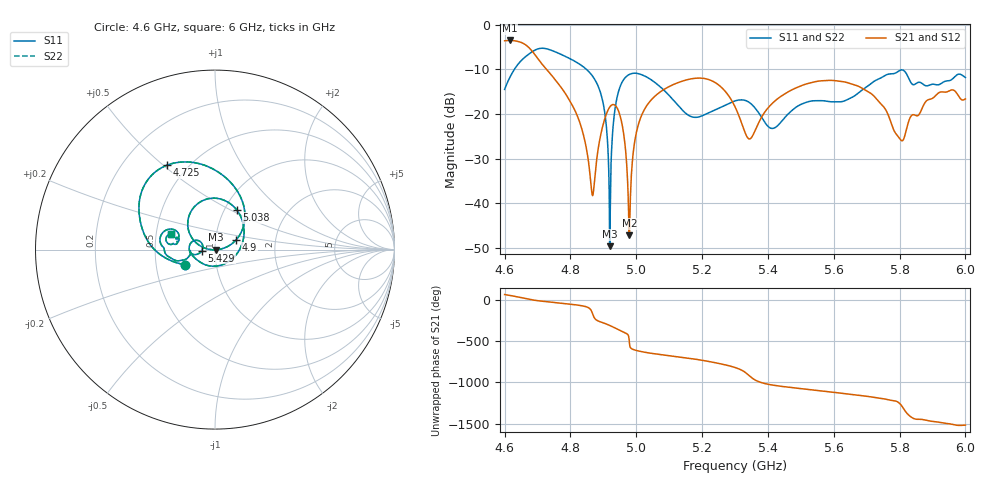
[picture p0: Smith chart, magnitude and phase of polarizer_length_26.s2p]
! TOUCHSTONE file generated by CST MICROWAVE STUDIO
! Date and time: Sun Dec  1 17:17:05 2024
! Project name: test_tuning.cst
! Parameters = {airCoaxOuterDiameter=3; chamferAngle=45; chamferWidth=24; connectorLength=10; drillingHoleDiameter=4.1; feedLength=60; flareDiameter=130; flareLength=70; gratingDistance=0; gratingGap=1.90274; outletLength=30; polarizerLength=114; probe1Diameter=1.3; probe1Distance=14; probe1Length=1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
! Header version: 2024
! Port assignment regex: !\s*Touchstone port\s*([0-9]+)\s*=\s*(CST MWS port|CST DES external port|CST DES block port)\s*(.+)\s* \(\"(.*)\"\)(\s*mode\s*([0-9]+))?.*
! Touchstone port assignment:
! Touchstone port 1 = CST MWS port 1 ("Input1")
! Touchstone port 2 = CST MWS port 2 ("Input2")
# GHz S MA R 50
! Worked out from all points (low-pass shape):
!   1001 points, 4.6 GHz to 6 GHz, reference 50 ohm
!   highest |S21| = -3.52 dB at 4.615 GHz (marker M1); lowest = -47.1 dB at 4.979 GHz (marker M2)
!   |S21| within 3 dB of the highest: start of sweep to 4.69 GHz
!   lowest |S11| = -49.6 dB at 4.919 GHz (marker M3), VSWR 1.01, Z = 50.3 - j0.103 ohm
!   |S11| at or under -10 dB: start of sweep to 4.63 GHz; 4.849 GHz to end of sweep
!   |S22| runs from -49.6 to -5.3 dB; largest |S21 - S12| = 1.9e-06
!   S11 on the Smith chart (normalised r, x): 4.6 GHz: 0.70, -0.12; 4.725 GHz: 0.39, +0.52; 4.9 GHz: 1.26, +0.14; 5.038 GHz: 1.14, +0.54; 5.429 GHz: 0.86, -0.01; 6 GHz: 0.60, +0.11
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4.6  0.1889 -153.8  0.6607 61.1  0.6607 61.1  0.1889 -153.8
4.6154  0.2553 -166.3  0.6668 50.8  0.6668 50.8  0.2553 -166.3
4.7246  0.5407 119.4  0.3251 -23.7  0.3251 -23.7  0.5407 119.4
4.8338  0.3498 69.3  0.06972 -73.8  0.06972 -73.8  0.3498 69.3
4.8674  0.2655 51.3  0.01223 -172.6  0.01223 -172.6  0.2655 51.3
4.8996  0.1312 25.0  0.07711 79.4  0.07711 79.4  0.1312 25.0
4.9192  0.00333 -17.9  0.1196 48.5  0.1196 48.5  0.00333 -17.9
4.936  0.1176 158.9  0.1252 16.9  0.1252 16.9  0.1176 158.9
4.9542  0.2171 134.2  0.08548 -18.2  0.08548 -18.2  0.2171 134.2
4.9794  0.2782 107.0  0.004407 -172.9  0.004407 -172.9  0.2782 107.0
5.0004  0.2861 88.6  0.06236 106.4  0.06236 106.4  0.2861 88.6
5.0382  0.2518 61.1  0.1339 76.6  0.1339 76.6  0.2518 61.1
5.0676  0.2098 41.1  0.1714 60.0  0.1714 60.0  0.2098 41.1
5.1726  0.09249 -71.6  0.25 5.4  0.25 5.4  0.09249 -71.6
5.3  0.1405 -175.1  0.1209 -99.1  0.1209 -99.1  0.1405 -175.1
5.3448  0.134 160.2  0.05275 157.0  0.05275 157.0  0.134 160.2
5.4288  0.07376 -175.5  0.1479 39.9  0.1479 39.9  0.07376 -175.5
5.5338  0.1404 -173.8  0.2259 -8.7  0.2259 -8.7  0.1404 -173.8
5.7676  0.2809 -177.6  0.09347 -130.5  0.09347 -130.5  0.2809 -177.6
5.8068  0.3126 167.7  0.0503 156.2  0.0503 156.2  0.3126 167.7
5.9188  0.2132 170.4  0.1729 -39.4  0.1729 -39.4  0.2132 170.4
6  0.257 160.8  0.148 -74.5  0.148 -74.5  0.257 160.8
